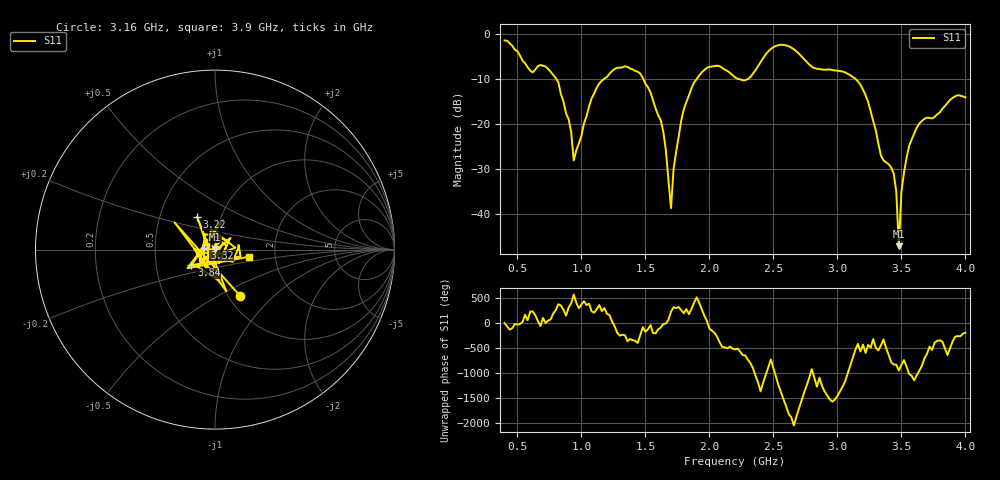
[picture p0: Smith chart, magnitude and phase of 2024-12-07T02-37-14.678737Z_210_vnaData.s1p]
!Created with skrf (http://scikit-rf.org).
# Hz S RI R 50.0
!freq ReS11 ImS11
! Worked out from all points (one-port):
!   181 points, 400 MHz to 4 GHz, reference 50 ohm
!   lowest |S11| = -47.1 dB at 3.48 GHz (marker M1), VSWR 1.01, Z = 49.7 + j0.36 ohm
!   |S11| at or under -10 dB: 803.2 MHz to 1.179 GHz (376 MHz wide, 37.9 % of centre); 1.483 GHz to 1.902 GHz (418.5 MHz wide, 24.7 % of centre); 3.141 GHz to end of sweep (the widest 3 of 4)
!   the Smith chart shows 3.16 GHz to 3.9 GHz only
!   S11 on the Smith chart (normalised r, x): 3.16 GHz: 1.13, -0.65; 3.22 GHz: 0.77, +0.29; 3.32 GHz: 0.89, +0.02; 3.84 GHz: 0.76, -0.14; 3.9 GHz: 1.46, -0.12
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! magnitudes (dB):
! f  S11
! 400 MHz  -1.5
! 740 MHz  -7.8
! 860 MHz  -15.1
! 920 MHz  -21.8
! 940 MHz  -28.1
! 1.12 GHz  -12.0
! 1.3 GHz  -7.5
! 1.46 GHz  -8.9
! 1.62 GHz  -19.2
! 1.66 GHz  -25.9
! 1.7 GHz  -38.7
! 1.72 GHz  -30.1
! 1.76 GHz  -22.8
! 1.94 GHz  -8.6
! 2.2 GHz  -9.7
! 2.66 GHz  -3.5
! 3.1 GHz  -9.2
! 3.16 GHz  -10.6
! 3.22 GHz  -13.6
! 3.32 GHz  -24.4
! 3.44 GHz  -31.0
! 3.46 GHz  -35.0
! 3.48 GHz  -47.1
! 3.5 GHz  -35.2
! 3.56 GHz  -24.9
! 3.84 GHz  -16.0
! 3.9 GHz  -14.3
! 4 GHz  -14.1
